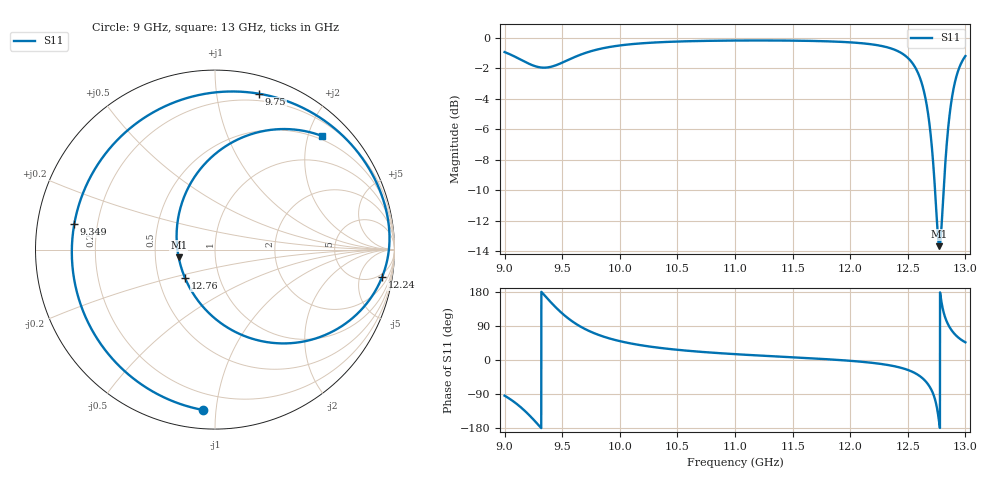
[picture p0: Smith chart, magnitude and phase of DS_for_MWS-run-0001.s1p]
! TOUCHSTONE file generated by CST DESIGN STUDIO
! Date and time: Tue Feb  4 14:02:56 2025
! Project name: C:\Work\MatlabApps\UnitCellOptimizationMatlab\CST\unitcell.cst
! Tree item: Tasks\Sweep1\SPara1\S-Parameters
! Header version: 2024
! Port assignment regex: !\s*Touchstone port\s*([0-9]+)\s*=\s*(CST MWS port|CST DES external port|CST DES block port)\s*(.+)\s* \(\"(.*)\"\)(\s*mode\s*([0-9]+))?.*
! Touchstone port assignment:
! Touchstone port 1 = CST DES external port 1 ("")
# GHz S MA R 50
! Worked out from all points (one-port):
!   4001 points, 9 GHz to 13 GHz, reference 50 ohm
!   lowest |S11| = -13.7 dB at 12.77 GHz (marker M1), VSWR 1.52, Z = 33 - j2.96 ohm
!   |S11| at or under -10 dB: 12.74 GHz to 12.81 GHz (74.56 MHz wide, 0.584 % of centre)
!   S11 on the Smith chart (normalised r, x): 9 GHz: 0.10, -0.93; 9.349 GHz: 0.11, +0.09; 9.75 GHz: 0.14, +1.31; 12.24 GHz: 4, -11; 12.76 GHz: 0.68, -0.23; 13 GHz: 0.43, +2.25
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9  0.8964 -94.1
9.086  0.8671 -111.4
9.165  0.8373 -131.3
9.264  0.806 -161.5
9.349  0.7969 169.8
9.429  0.8075 143.5
9.5  0.8276 122.9
9.61  0.8639 97.3
9.75  0.9024 74.3
9.867  0.9249 60.9
10  0.9422 49.8
10.216  0.9592 37.4
10.5  0.9705 26.9
11  0.9779 15.4
11.5  0.9772 7.1
12  0.9646 -2.1
12.242  0.9433 -9.4
12.5  0.858 -26.2
12.591  0.7621 -39.7
12.668  0.5892 -60.9
12.715  0.4116 -85.3
12.759  0.2303 -136.5
12.774  0.207 -168.1
12.791  0.2343 155.8
12.817  0.3449 119.4
12.874  0.6021 81.3
12.924  0.7506 63.2
13  0.87 46.7
